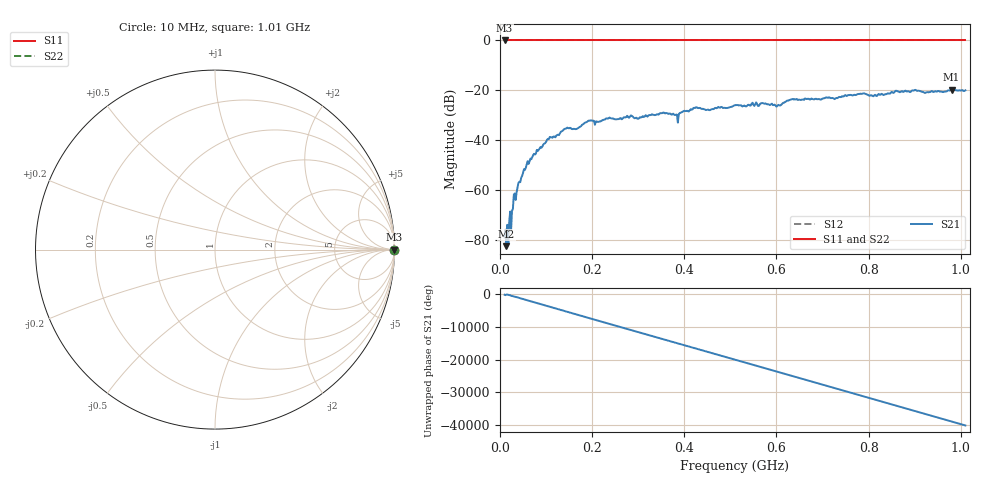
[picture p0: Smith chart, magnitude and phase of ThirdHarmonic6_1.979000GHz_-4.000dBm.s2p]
! 8/16/2025 11:47:47 PM
! C:\ANRITSUVNA\TEMP\TEMP.S2P
! CHANNEL.1
! TR.MEASUREMENT
! RAW.DATA
! RF.CORRECTION.OFF
! AVERAGING.OFF
! IF.BANDWIDTH: 5KHZ
! SWEEPTYPE:  FREQ.SWEEP(Linear)
! Reference Plane Port Info
! PORT:  PORT1  PORT2
! DISTANCE:  0  m  0  m
! TIME:  0  s  0  s
! PHASE.OFFSET:  0  deg.  0  deg.
! LOSS:  0  dB  0  dB
! REF.LOSS:  0  dB  0  dB
! REF.FREQ:  0  Hz  0  Hz
! Power Info
! POWER:  -20  dBm  -20  dBm
! EFF.POWER:  -20  dBm  -20  dBm
! SOURCE.ATTEN:  0  dB  0  dB
! TEST.ATTEN:  0  dB  0  dB
# GHZ S RI R 50.0
! FREQ.GHZ  S11RE  S11IM  S21RE  S21IM  S12RE  S12IM  S22RE  S22IM
!; PortSelection: Port_12
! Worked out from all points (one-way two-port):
!   501 points, 10 MHz to 1.01 GHz, reference 50 ohm
!   highest |S21| = -19.80 dB at 980 MHz (marker M1); lowest = -82.6 dB at 14 MHz (marker M2)
!   lowest |S11| = 0.0 dB at 10 MHz (marker M3)
!   |S11| at or under -10 dB: nowhere
!   |S22| runs from 0.0 to 0.0 dB; largest |S21 - S12| = 1.1
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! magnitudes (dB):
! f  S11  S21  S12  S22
! 10 MHz  0.0  -79.1  0.0  0.0
! 14 MHz  0.0  -82.6  0.0  0.0
! 22 MHz  0.0  -68.7  0.0  0.0
! 34 MHz  0.0  -64.0  0.0  0.0
! 50 MHz  0.0  -53.2  0.0  0.0
! 62 MHz  0.0  -49.6  0.0  0.0
! 106 MHz  0.0  -39.7  0.0  0.0
! 142 MHz  0.0  -35.4  0.0  0.0
! 166 MHz  0.0  -35.5  0.0  0.0
! 178 MHz  0.0  -33.9  0.0  0.0
! 196 MHz  0.0  -32.1  0.0  0.0
! 344 MHz  0.0  -29.8  0.0  0.0
! 382 MHz  0.0  -29.8  0.0  0.0
! 424 MHz  0.0  -27.1  0.0  0.0
! 452 MHz  0.0  -27.8  0.0  0.0
! 510 MHz  0.0  -26.0  0.0  0.0
! 604 MHz  0.0  -25.9  0.0  0.0
! 632 MHz  0.0  -23.7  0.0  0.0
! 678 MHz  0.0  -23.5  0.0  0.0
! 844 MHz  0.0  -21.3  0.0  0.0
! 980 MHz  0.0  -19.8  0.0  0.0
! 1.01 GHz  0.0  -20.0  0.0  0.0
